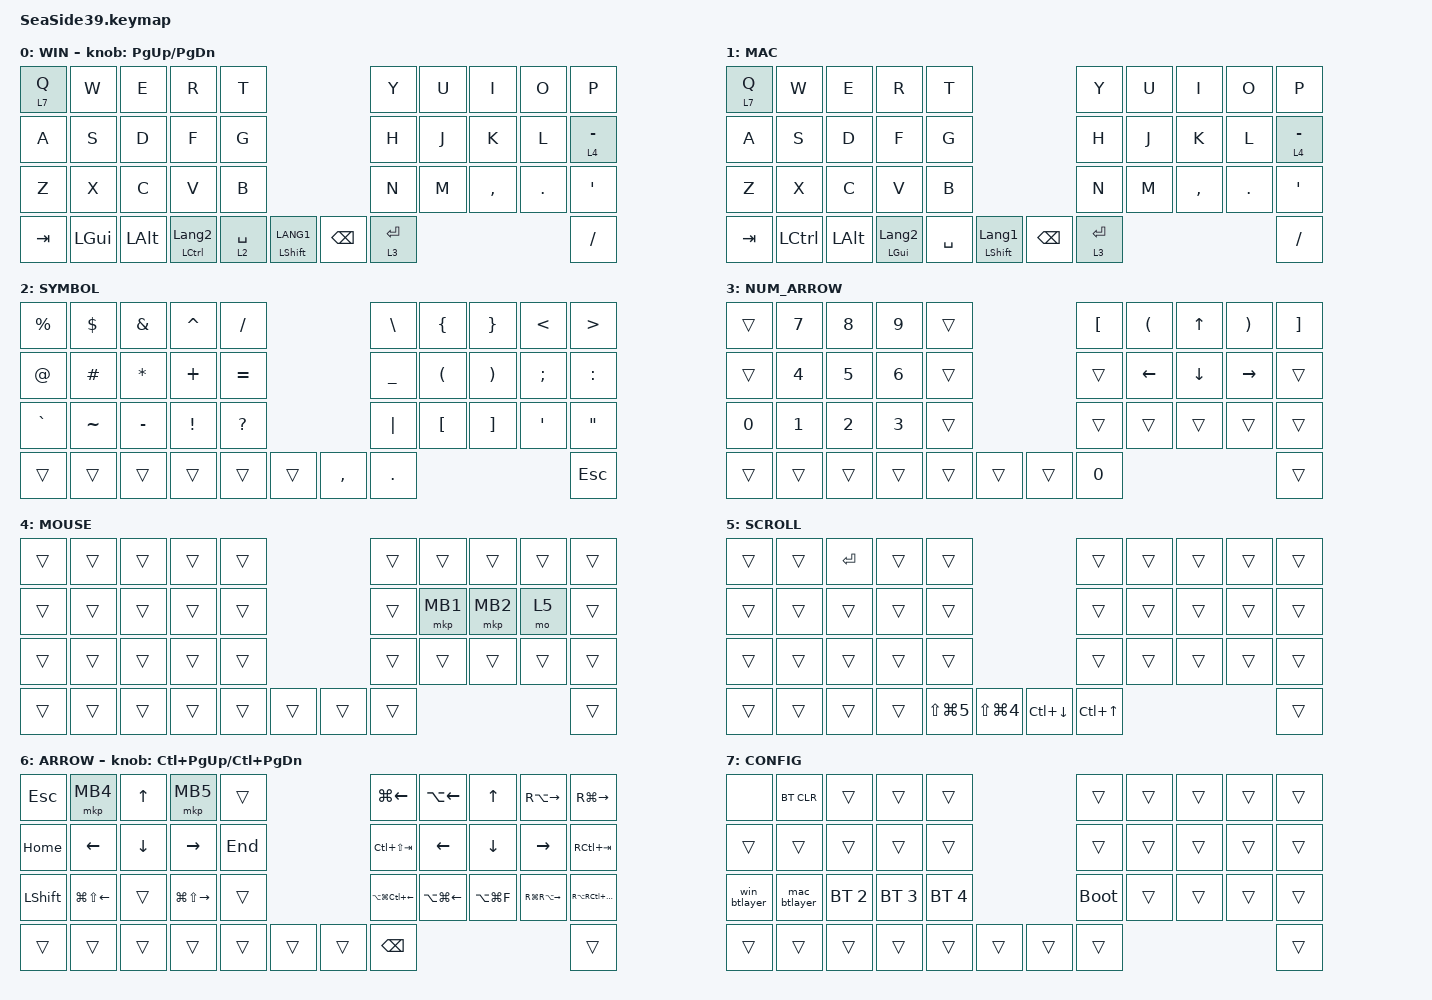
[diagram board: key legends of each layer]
#include <behaviors.dtsi>
#include <dt-bindings/zmk/bt.h>
#include <dt-bindings/zmk/keys.h>
#include <dt-bindings/zmk/pointing.h>

#define MOUSE 4
#define SCROLL 5
#define NUM 6

&mt {
    flavor = "balanced";
    quick-tap-ms = <300>;
};

&lt {
    flavor = "balanced";
    quick-tap-ms = <300>;
};

/ {
    combos {
        compatible = "zmk,combos";

        task_view_combo {
            bindings = <&task_view_macro>;
            key-positions = <31 33 37 7>;
            layers = <0>;
        };
    };

    macros {
        mac_btlayer: new_macro {
            compatible = "zmk,behavior-macro";
            #binding-cells = <0>;
            bindings = <&to 1 &bt BT_SEL 1>;
            label = "NEW_MACRO";
        };

        win_btlayer: win_btlayer {
            compatible = "zmk,behavior-macro";
            #binding-cells = <0>;
            bindings = <&to 0 &bt BT_SEL 0>;
            label = "WIN_BTLAYER";
        };

        task_view_macro: task_view_macro {
            compatible = "zmk,behavior-macro";
            #binding-cells = <0>;
            bindings = <&kp LEFT_WIN &kp TAB>;
            label = "TASK_VIEW_MACRO";
        };
    };

    keymap {
        compatible = "zmk,keymap";

        WIN {
            bindings = <
&lt 7 Q  &kp W         &kp E         &kp R                        &kp T                                                 &kp Y        &kp U  &kp I      &kp O       &kp P
&kp A    &kp S         &kp D         &kp F                        &kp G                                                 &kp H        &kp J  &kp K      &kp L       &lt 4 MINUS
&kp Z    &kp X         &kp C         &kp V                        &kp B                                                 &kp N        &kp M  &kp COMMA  &kp PERIOD  &kp SINGLE_QUOTE
&kp TAB  &kp LEFT_GUI  &kp LEFT_ALT  &mt LEFT_CONTROL LANGUAGE_2  &lt 2 SPACE  &mt LEFT_SHIFT LANG1      &kp BACKSPACE  &lt 3 ENTER                                &kp SLASH
            >;

            sensor-bindings = <&inc_dec_kp PG_UP PAGE_DOWN>;
        };

        MAC {
            bindings = <
&lt 7 Q  &kp W             &kp E         &kp R                    &kp T                                                    &kp Y        &kp U  &kp I      &kp O    &kp P
&kp A    &kp S             &kp D         &kp F                    &kp G                                                    &kp H        &kp J  &kp K      &kp L    &lt 4 MINUS
&kp Z    &kp X             &kp C         &kp V                    &kp B                                                    &kp N        &kp M  &kp COMMA  &kp DOT  &kp APOS
&kp TAB  &kp LEFT_CONTROL  &kp LEFT_ALT  &mt LEFT_GUI LANGUAGE_2  &kp SPACE  &mt LEFT_SHIFT LANGUAGE_1      &kp BACKSPACE  &lt 3 ENTER                             &kp FSLH
            >;
        };

        SYMBOL {
            bindings = <
&kp PRCNT  &kp DOLLAR  &kp AMPERSAND  &kp CARET        &kp FSLH                             &kp BSLH        &kp LEFT_BRACE        &kp RIGHT_BRACE        &kp LESS_THAN  &kp GREATER_THAN
&kp AT     &kp HASH    &kp ASTERISK   &kp PLUS         &kp EQUAL                            &kp UNDERSCORE  &kp LEFT_PARENTHESIS  &kp RIGHT_PARENTHESIS  &kp SEMI       &kp COLON
&kp GRAVE  &kp TILDE   &kp MINUS      &kp EXCLAMATION  &kp QUESTION                         &kp PIPE        &kp LBKT              &kp RBKT               &kp SQT        &kp DOUBLE_QUOTES
&trans     &trans      &trans         &trans           &trans        &trans      &kp COMMA  &kp PERIOD                                                                  &kp ESC
            >;
        };

        NUM_ARROW {
            bindings = <
&trans        &kp NUMBER_7  &kp NUMBER_8  &kp NUMBER_9  &trans                      &kp LEFT_BRACKET  &kp LEFT_PARENTHESIS  &kp UP_ARROW    &kp RIGHT_PARENTHESIS  &kp RIGHT_BRACKET
&trans        &kp NUMBER_4  &kp NUMBER_5  &kp NUMBER_6  &trans                      &trans            &kp LEFT_ARROW        &kp DOWN_ARROW  &kp RIGHT_ARROW        &trans
&kp NUMBER_0  &kp NUMBER_1  &kp NUMBER_2  &kp NUMBER_3  &trans                      &trans            &trans                &trans          &trans                 &trans
&trans        &trans        &trans        &trans        &trans  &trans      &trans  &kp NUMBER_0                                                                   &trans
            >;
        };

        MOUSE {
            bindings = <
&trans  &trans  &trans  &trans  &trans                      &trans  &trans    &trans    &trans  &trans
&trans  &trans  &trans  &trans  &trans                      &trans  &mkp MB1  &mkp MB2  &mo 5   &trans
&trans  &trans  &trans  &trans  &trans                      &trans  &trans    &trans    &trans  &trans
&trans  &trans  &trans  &trans  &trans  &trans      &trans  &trans                              &trans
            >;
        };

        SCROLL {
            bindings = <
&trans  &trans  &kp ENTER  &trans  &trans                                            &trans            &trans  &trans  &trans  &trans
&trans  &trans  &trans     &trans  &trans                                            &trans            &trans  &trans  &trans  &trans
&trans  &trans  &trans     &trans  &trans                                            &trans            &trans  &trans  &trans  &trans
&trans  &trans  &trans     &trans  &kp LS(LG(N5))  &kp LS(LG(N4))      &kp LC(DOWN)  &kp LC(UP_ARROW)                          &trans
            >;
        };

        ARROW {
            bindings = <
&kp ESCAPE      &mkp MB4                &kp UP_ARROW    &mkp MB5                 &trans                       &kp LG(LEFT_ARROW)          &kp LA(LEFT_ARROW)      &kp UP_ARROW    &kp RA(RIGHT_ARROW)      &kp RG(RIGHT_ARROW)
&kp HOME        &kp LEFT_ARROW          &kp DOWN_ARROW  &kp RIGHT_ARROW          &kp END                      &kp LC(LS(TAB))             &kp LEFT_ARROW          &kp DOWN_ARROW  &kp RIGHT_ARROW          &kp RC(TAB)
&kp LEFT_SHIFT  &kp LG(LS(LEFT_ARROW))  &trans          &kp LG(LS(RIGHT_ARROW))  &trans                       &kp LA(LG(LC(LEFT_ARROW)))  &kp LA(LG(LEFT_ARROW))  &kp LA(LG(F))   &kp RG(RA(RIGHT_ARROW))  &kp RA(RC(RG(RIGHT_ARROW)))
&trans          &trans                  &trans          &trans                   &trans   &trans      &trans  &kp BACKSPACE                                                                                &trans
            >;

            sensor-bindings = <&inc_dec_kp LC(PAGE_UP) LC(PAGE_DOWN)>;
        };

        CONFIG {
            bindings = <
&none         &bt BT_CLR    &trans        &trans        &trans                            &trans       &trans  &trans  &trans  &trans
&trans        &trans        &trans        &trans        &trans                            &trans       &trans  &trans  &trans  &trans
&win_btlayer  &mac_btlayer  &bt BT_SEL 2  &bt BT_SEL 3  &bt BT_SEL 4                      &bootloader  &trans  &trans  &trans  &trans
&trans        &trans        &trans        &trans        &trans        &trans      &trans  &trans                               &trans
            >;
        };
    };
};
